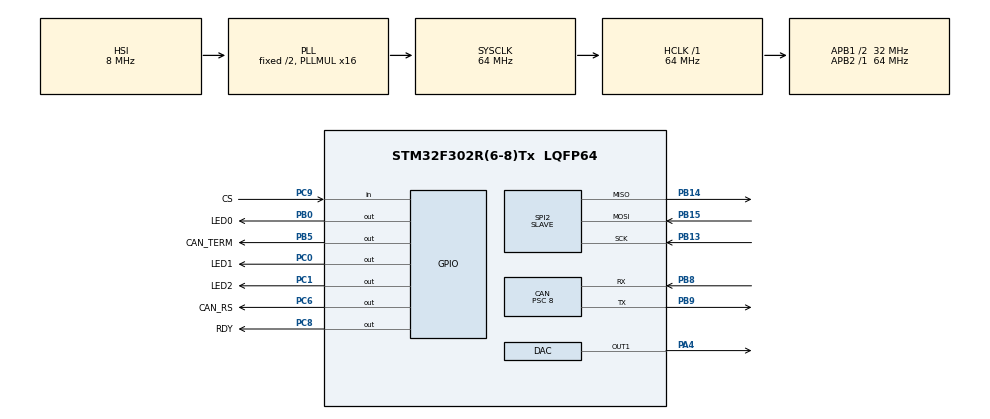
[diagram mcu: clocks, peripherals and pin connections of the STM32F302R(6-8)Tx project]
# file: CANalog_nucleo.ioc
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Mcu.Family=STM32F3
SH.COMP_DAC1_group.0=DAC_OUT1,DAC_OUT1
RCC.CortexFreq_Value=64000000
SPI2.VirtualType=VM_SLAVE
PC9.GPIO_Label=CS
CAN.CalculateBaudRate=250000
RCC.SYSCLKSourceVirtual=RCC_SYSCLKSOURCE_PLLCLK
PC8.Signal=GPIO_Output
PC6.Signal=GPIO_Output
PC6.GPIO_Label=CAN_RS
PC0.GPIO_Label=LED1
PB0.GPIO_Label=LED0
PC0.Signal=GPIO_Output
RCC.APB1CLKDivider=RCC_HCLK_DIV2
PB13.Signal=SPI2_SCK
PB15.Signal=SPI2_MOSI
CAN.CalculateTimeBit=4000.00
ProjectManager.StackSize=0x400
PC8.PinState=GPIO_PIN_SET
PC8.GPIO_Label=RDY
PA13.Signal=SYS_JTMS-SWDIO
CAN.BS2=CAN_BS2_2TQ
CAN.Prescaler=8
CAN.BS1=CAN_BS1_13TQ
ProjectManager.TargetToolchain=STM32CubeIDE
RCC.HCLKFreq_Value=64000000
PB9.Mode=CAN_Activate
RCC.APB2TimFreq_Value=64000000
RCC.USBFreq_Value=64000000
CAN.Mode=CAN_MODE_SILENT
RCC.LSE_VALUE=32768
RCC.AHBFreq_Value=64000000
PB14.Signal=SPI2_MISO
RCC.HSE_VALUE=8000000
board=custom
RCC.PLLMUL=RCC_PLL_MUL16
PB15.Mode=Full_Duplex_Slave
RCC.APB2Freq_Value=64000000
PA14.Mode=Serial_Wire
PB14.Mode=Full_Duplex_Slave
PC1.GPIO_Label=LED2
PA13.Mode=Serial_Wire
Mcu.Name=STM32F302R(6-8)Tx
CAN.CalculateTimeQuantum=250.0
PA4.Signal=COMP_DAC1_group
RCC.SYSCLKFreq_VALUE=64000000
Mcu.Package=LQFP64
PB5.Signal=GPIO_Output
PB9.Signal=CAN_TX
SPI2.Mode=SPI_MODE_SLAVE
PA14.Signal=SYS_JTCK-SWCLK
ProjectManager.HeapSize=0x200
PC8.GPIO_Speed=GPIO_SPEED_FREQ_HIGH
RCC.HSI_VALUE=8000000
NVIC.PriorityGroup=NVIC_PRIORITYGROUP_4
PB5.GPIO_Label=CAN_TERM
PB8.Mode=CAN_Activate
RCC.APB1TimFreq_Value=64000000
PB8.Signal=CAN_RX
SPI2.DataSize=SPI_DATASIZE_8BIT
SPI2.Direction=SPI_DIRECTION_2LINES
PB13.Mode=Full_Duplex_Slave
PC9.Signal=GPIO_Input
RCC.APB1Freq_Value=32000000
PB0.Signal=GPIO_Output
PC1.Signal=GPIO_Output

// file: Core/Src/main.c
/* USER CODE BEGIN Header */
/**
 ******************************************************************************
 * @file           : main.c
 * @brief          : CANalog: CAN to analog converter
 ******************************************************************************
 *
 ******************************************************************************
 */
/* USER CODE END Header */
#include "main.h"
#include "can.h"
#include "dac.h"
#include "spi.h"
#include "gpio.h"

/* USER CODE BEGIN Includes */
#include "string.h"
#include "can_signal.h"
#include "can_bit_timing.h"

/* USER CODE END Includes */

/* USER CODE BEGIN PD */
#define DEVICE_NAME				"CANalog"
/* Version should be interpreted as: (MAIN).(TOPIC).(FUNCTION).(BUGFIX)
 * 		MAIN marks major milestones of the project such as release
 * 		TOPIC marks the introduction of a new functionality or major changes
 * 		FUNCTION marks introduction of new functionality and aim to advance the current TOPIC
 * 		BUGFIX marks very minor updates such as bug fix, optimization, or text edit
 */
#define HW_VERSION				"V0.0.2.0"
#define FW_VERSION				"V0.0.6.0"

/* USER CODE END PD */

/* USER CODE BEGIN PV */
SPI_HandleTypeDef hspi2;
DAC_HandleTypeDef hdac;
CAN_HandleTypeDef hcan;

CAN_FilterTypeDef canFilter;
CAN_RxHeaderTypeDef canRxHeader;
uint8_t canRxBuffer[8];

Signal_Handle_t signal;

uint32_t sn;

/* USER CODE END PV */

void SystemClock_Config(void);
/* USER CODE BEGIN PFP */
void can_filter_init(CAN_HandleTypeDef *hcan, CAN_FilterTypeDef *canFilter);

/* USER CODE END PFP */

int main(void) {

	/* MCU Configuration--------------------------------------------------------*/

	/* Reset of all peripherals, Initializes the Flash interface and the Systick. */
	HAL_Init();

	/* Configure the system clock */
	SystemClock_Config();

	/* Initialize all configured peripherals */
	MX_GPIO_Init();
	MX_CAN_Init();
	MX_DAC_Init();
	MX_SPI2_Init();
	/* USER CODE BEGIN 2 */
	sn = calc_sn();

	signal_init(&signal); /* initialize signal to default values */

	can_filter_init(&hcan, &canFilter);

	if (HAL_CAN_Start(&hcan) != HAL_OK) {
		Error_Handler();
	}

	/* set DAC */
	HAL_DAC_SetValue(&hdac, DAC1_CHANNEL_1, DAC_ALIGN_12B_R, 0);
	HAL_DAC_Start(&hdac, DAC1_CHANNEL_1);

	/* USER CODE END 2 */

	/* Infinite loop */
	while (1) {

		/* USER CODE BEGIN 3 */
		/* SPI Check ---------------------------------------------------------*/
		if (HAL_GPIO_ReadPin(CS_GPIO_Port, CS_Pin) == 0) { /* esp8266 wants to talk */
			HAL_GPIO_WritePin(LED1_GPIO_Port, LED1_Pin, GPIO_PIN_SET);
			HAL_GPIO_WritePin(RDY_GPIO_Port, RDY_Pin, GPIO_PIN_RESET); /* signal to esp8266 we are ready to talk */

			uint8_t command_bit = 0;
			if (HAL_SPI_Receive(&hspi2, &command_bit, sizeof(command_bit), 2) != HAL_OK) {
				Error_Handler();
			}

			switch (command_bit) {
			case SPI_SIGNAL_SEND: /* esp is requesting parameters */
				if (HAL_SPI_Transmit(&hspi2, (uint8_t*) &signal, sizeof(Signal_Handle_t), 5) != HAL_OK) {
					Error_Handler();
				}
				break;
			case SPI_SIGNAL_RECEIVE: /* esp is sending new parameters*/
				if (HAL_SPI_Receive(&hspi2, (uint8_t*) &signal, sizeof(Signal_Handle_t), 5) != HAL_OK) {
					Error_Handler();
				}

				signal_update(&signal); /* recalculate signal values */
				/* restart CAN interface with new baud rate -----------------------*/
				if (HAL_CAN_Stop(&hcan) != HAL_OK) {
					Error_Handler();
				}
				/* stop CAN and deinit so we can configure it */
				if (HAL_CAN_DeInit(&hcan) != HAL_OK) {
					Error_Handler();
				}
				/* set new bit timing */
				can_set_bit_timing(&signal, &hcan);
				/* reinitialize CAN */
				if (HAL_CAN_Init(&hcan) != HAL_OK) {
					Error_Handler();
				}
				/* restart can */
				if (HAL_CAN_Start(&hcan) != HAL_OK) {
					Error_Handler();
				}
				/* set DAC to zero */
				HAL_DAC_SetValue(&hdac, DAC_CHANNEL_1, DAC_ALIGN_12B_R, 0);
				break;
			case SPI_SEND_SN:
				if (HAL_SPI_Transmit(&hspi2, (uint8_t*) &sn, sizeof(sn), 5) != HAL_OK) {
					Error_Handler();
				}
				break;
			case SPI_SEND_FW_VERSION:
				if (HAL_SPI_Transmit(&hspi2, (uint8_t*) FW_VERSION, sizeof(FW_VERSION), 5) != HAL_OK) {
					Error_Handler();
				}
				break;
			case SPI_SEND_HW_VERSION:
				if (HAL_SPI_Transmit(&hspi2, (uint8_t*) HW_VERSION, sizeof(HW_VERSION), 5) != HAL_OK) {
					Error_Handler();
				}
				break;
			case SPI_SEND_CAN_SIGNAL:
				if (HAL_SPI_Transmit(&hspi2, (uint8_t*) &signal.value, sizeof(signal.value), 5) != HAL_OK) {
					Error_Handler();
				}
				break;
			case SPI_SEND_DAC_VALUE:
				if (HAL_SPI_Transmit(&hspi2, (uint8_t*) &signal.dac_out, sizeof(signal.dac_out), 5) != HAL_OK) {
					Error_Handler();
				}
				break;
			case SPI_SEND_CAN_FRAME:
				if (HAL_SPI_Transmit(&hspi2, (uint8_t*) &signal.frame, sizeof(signal.frame), 5) != HAL_OK) {
					Error_Handler();
				}
				break;
			default:
				break;
			}

			HAL_GPIO_WritePin(RDY_GPIO_Port, RDY_Pin, GPIO_PIN_SET); /* return ready pin to high */

			while (HAL_GPIO_ReadPin(CS_GPIO_Port, CS_Pin) == 0) {
				; /* loop until esp8266 pulls CS high */
			}
			HAL_GPIO_WritePin(LED1_GPIO_Port, LED1_Pin, GPIO_PIN_RESET);
		}

		/* CAN ---------------------------------------------------------------*/
		if (HAL_CAN_GetRxFifoFillLevel(&hcan, CAN_RX_FIFO0) != 0) {
			if (HAL_CAN_GetRxMessage(&hcan, CAN_RX_FIFO0, &canRxHeader, canRxBuffer) != HAL_OK) {
				Error_Handler();
			} // end HAL_CAN_GetRxMessage

			switch (signal.can_type) {
			case ID_TYPE_11BIT:
				if (canRxHeader.StdId == signal.can_id) {
					/* copy canRxBuffer into signal */
					memcpy(signal.frame, canRxBuffer, sizeof(signal.frame));

					signal_calc(&signal);
					HAL_DAC_SetValue(&hdac, DAC_CHANNEL_1, DAC_ALIGN_12B_R, signal.dac_out);
					HAL_GPIO_TogglePin(LED0_GPIO_Port, LED0_Pin);
				}
				break;
			case ID_TYPE_29BIT:
				if (canRxHeader.ExtId == signal.can_id) {
					/* copy canRxBuffer into signal */
					memcpy(signal.frame, canRxBuffer, sizeof(signal.frame));

					signal_calc(&signal);
					HAL_DAC_SetValue(&hdac, DAC_CHANNEL_1, DAC_ALIGN_12B_R, signal.dac_out);
					HAL_GPIO_TogglePin(LED0_GPIO_Port, LED0_Pin);
				}
				break;
			default:
				break;
			} // end switch(signal.can_type)
		} // end HAL_CAN_GetRxFifoFillLevel
	}
	/* USER CODE END 3 */
}

void SystemClock_Config(void) {
	RCC_OscInitTypeDef RCC_OscInitStruct = { 0 };
	RCC_ClkInitTypeDef RCC_ClkInitStruct = { 0 };

	/** Initializes the RCC Oscillators according to the specified parameters
	 * in the RCC_OscInitTypeDef structure.
	 */
	RCC_OscInitStruct.OscillatorType = RCC_OSCILLATORTYPE_HSI;
	RCC_OscInitStruct.HSIState = RCC_HSI_ON;
	RCC_OscInitStruct.HSICalibrationValue = RCC_HSICALIBRATION_DEFAULT;
	RCC_OscInitStruct.PLL.PLLState = RCC_PLL_ON;
	RCC_OscInitStruct.PLL.PLLSource = RCC_PLLSOURCE_HSI;
	RCC_OscInitStruct.PLL.PLLMUL = RCC_PLL_MUL16;
	if (HAL_RCC_OscConfig(&RCC_OscInitStruct) != HAL_OK) {
		Error_Handler();
	}
	/** Initializes the CPU, AHB and APB buses clocks
	 */
	RCC_ClkInitStruct.ClockType = RCC_CLOCKTYPE_HCLK | RCC_CLOCKTYPE_SYSCLK | RCC_CLOCKTYPE_PCLK1 | RCC_CLOCKTYPE_PCLK2;
	RCC_ClkInitStruct.SYSCLKSource = RCC_SYSCLKSOURCE_PLLCLK;
	RCC_ClkInitStruct.AHBCLKDivider = RCC_SYSCLK_DIV1;
	RCC_ClkInitStruct.APB1CLKDivider = RCC_HCLK_DIV2;
	RCC_ClkInitStruct.APB2CLKDivider = RCC_HCLK_DIV1;

	if (HAL_RCC_ClockConfig(&RCC_ClkInitStruct, FLASH_LATENCY_2) != HAL_OK) {
		Error_Handler();
	}
}

/* USER CODE BEGIN 4 */
/* Initialize CAN Filter */
void can_filter_init(CAN_HandleTypeDef *hcan, CAN_FilterTypeDef *canFilter) {
	canFilter->FilterBank = 0;
	canFilter->FilterMode = CAN_FILTERMODE_IDMASK;
	canFilter->FilterScale = CAN_FILTERSCALE_32BIT;
	canFilter->FilterIdHigh = 0;
	canFilter->FilterIdLow = 0;
	canFilter->FilterMaskIdHigh = 0;
	canFilter->FilterMaskIdLow = 0;
	canFilter->FilterFIFOAssignment = CAN_RX_FIFO0;
	canFilter->FilterActivation = ENABLE;

	if (HAL_CAN_ConfigFilter(hcan, canFilter) != HAL_OK) {
		Error_Handler();
	}
}

/* USER CODE END 4 */

void Error_Handler(void) {
	/* USER CODE BEGIN Error_Handler_Debug */
	/* User can add his own implementation to report the HAL error return state */
	__disable_irq();
	HAL_GPIO_WritePin(LED2_GPIO_Port, LED2_Pin, GPIO_PIN_SET);
	while (1) {
	}
	/* USER CODE END Error_Handler_Debug */
}

/************************ (C) COPYRIGHT STMicroelectronics *****END OF FILE****/
